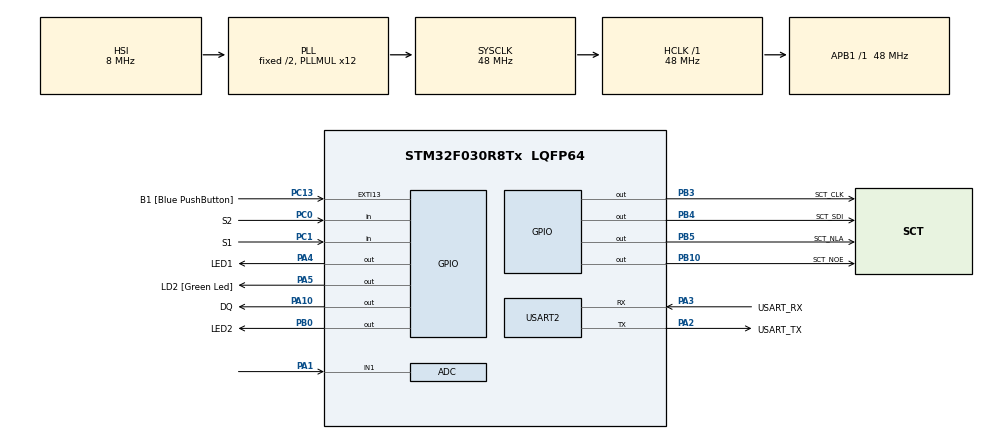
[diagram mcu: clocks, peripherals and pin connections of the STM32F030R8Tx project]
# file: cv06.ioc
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ADC.ContinuousConvMode=ENABLE
ADC.Overrun=ADC_OVR_DATA_OVERWRITTEN
ADC.Resolution=ADC_RESOLUTION_10B
Mcu.Family=STM32F0
Mcu.Name=STM32F030R8Tx
Mcu.Package=LQFP64
PA1.Mode=IN1
PA1.Signal=ADC_IN1
PA10.GPIO_Label=DQ
PA10.GPIO_ModeDefaultOutputPP=GPIO_MODE_OUTPUT_OD
PA10.Signal=GPIO_Output
PA13.GPIO_Label=TMS
PA13.Mode=Serial_Wire
PA13.Signal=SYS_SWDIO
PA14.GPIO_Label=TCK
PA14.Mode=Serial_Wire
PA14.Signal=SYS_SWCLK
PA2.GPIO_Label=USART_TX
PA2.GPIO_Mode=GPIO_MODE_AF_PP
PA2.GPIO_PuPd=GPIO_NOPULL
PA2.GPIO_Speed=GPIO_SPEED_FREQ_LOW
PA2.Mode=Asynchronous
PA2.Signal=USART2_TX
PA3.GPIO_Label=USART_RX
PA3.GPIO_Mode=GPIO_MODE_AF_PP
PA3.GPIO_PuPd=GPIO_NOPULL
PA3.GPIO_Speed=GPIO_SPEED_FREQ_LOW
PA3.Mode=Asynchronous
PA3.Signal=USART2_RX
PA4.GPIO_Label=LED1
PA4.Signal=GPIO_Output
PA5.GPIO_Label=LD2 [Green Led]
PA5.GPIO_Mode=GPIO_MODE_OUTPUT_PP
PA5.GPIO_PuPd=GPIO_NOPULL
PA5.GPIO_Speed=GPIO_SPEED_FREQ_LOW
PA5.Signal=GPIO_Output
PB0.GPIO_Label=LED2
PB0.Signal=GPIO_Output
PB10.GPIO_Label=SCT_NOE
PB10.Signal=GPIO_Output
PB3.GPIO_Label=SCT_CLK
PB3.Signal=GPIO_Output
PB4.GPIO_Label=SCT_SDI
PB4.Signal=GPIO_Output
PB5.GPIO_Label=SCT_NLA
PB5.Signal=GPIO_Output
PC0.GPIO_Label=S2
PC0.GPIO_PuPd=GPIO_PULLUP
PC0.Signal=GPIO_Input
PC1.GPIO_Label=S1
PC1.GPIO_PuPd=GPIO_PULLUP
PC1.Signal=GPIO_Input
PC13.GPIO_Label=B1 [Blue PushButton]
PC13.GPIO_ModeDefaultEXTI=GPIO_MODE_IT_FALLING
PC13.Signal=GPXTI13
PC14-OSC32_IN.Mode=LSE-External-Oscillator
PC14-OSC32_IN.Signal=RCC_OSC32_IN
PC15-OSC32_OUT.Mode=LSE-External-Oscillator
PC15-OSC32_OUT.Signal=RCC_OSC32_OUT
PF0-OSC_IN.Mode=HSE-External-Clock-Source
PF0-OSC_IN.Signal=RCC_OSC_IN
PF1-OSC_OUT.Signal=RCC_OSC_OUT
ProjectManager.HeapSize=0x200
ProjectManager.StackSize=0x400
ProjectManager.TargetToolchain=STM32CubeIDE
RCC.AHBFreq_Value=48000000
RCC.APB1Freq_Value=48000000
RCC.APB1TimFreq_Value=48000000
RCC.HCLKFreq_Value=48000000
RCC.PLLMUL=RCC_PLL_MUL12
RCC.SYSCLKFreq_VALUE=48000000
RCC.SYSCLKSource=RCC_SYSCLKSOURCE_PLLCLK
USART2.VirtualMode-Asynchronous=VM_ASYNC
board=NUCLEO-F030R8

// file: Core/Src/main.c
/* USER CODE BEGIN Header */
/**
  ******************************************************************************
  * @file           : main.c
  * @brief          : Main program body
  ******************************************************************************
  * @attention
  *
  * <h2><center>&copy; Copyright (c) 2021 STMicroelectronics.
  * All rights reserved.</center></h2>
  *
  * This software component is licensed by ST under BSD 3-Clause license,
  * the "License"; You may not use this file except in compliance with the
  * License. You may obtain a copy of the License at:
  *                        opensource.org/licenses/BSD-3-Clause
  *
  ******************************************************************************
  */
/* USER CODE END Header */
#include "main.h"

/* USER CODE BEGIN Includes */

#include "sct.h"
#include "1wire.h"
#define CONVERT_T_DELAY 750

/* USER CODE END Includes */

/* USER CODE BEGIN PD */
int16_t temp;
int16_t temp_18b20;
/* USER CODE END PD */

ADC_HandleTypeDef hadc;

UART_HandleTypeDef huart2;

/* USER CODE BEGIN PV */
int16_t temp_NTC[1024] = {1689,1670,1651,1633,1615,1597,1580,1563,1547,1531,
		1515,1499,1484,1469,1455,1440,1426,1413,1399,1386,1373,1360,1348,1335,
		1323,1312,1300,1289,1278,1267,1256,1246,1236,1226,1216,1206,1197,1188,
		1178,1170,1161,1152,1144,1136,1127,1119,1112,1104,1097,1089,1082,1075,
		1068,1061,1054,1048,1041,1035,1029,1022,1016,1010,1005,999,993,988,982,
		977,972,967,962,957,952,947,942,937,933,928,924,919,915,911,907,902,898,
		894,890,886,883,879,875,871,868,864,860,857,854,850,847,843,840,837,834,
		830,827,824,821,818,815,812,809,806,803,801,798,795,792,789,787,784,781,
		779,776,774,771,768,766,763,761,758,756,753,751,749,746,744,742,739,737,
		735,732,730,728,726,723,721,719,717,715,712,710,708,706,704,702,700,698,
		696,693,691,689,687,685,683,681,679,677,675,673,671,669,668,666,664,662,
		660,658,656,654,652,651,649,647,645,643,641,639,638,636,634,632,631,629,
		627,625,623,622,620,618,617,615,613,611,610,608,606,605,603,601,600,598,
		596,595,593,591,590,588,587,585,583,582,580,579,577,576,574,572,571,569,
		568,566,565,563,562,560,559,557,556,554,553,551,550,548,547,546,544,543,
		541,540,538,537,536,534,533,531,530,529,527,526,525,523,522,521,519,518,
		517,515,514,513,511,510,509,508,506,505,504,502,501,500,499,497,496,495,
		494,493,491,490,489,488,487,485,484,483,482,481,479,478,477,476,475,474,
		472,471,470,469,468,467,466,465,463,462,461,460,459,458,457,456,455,454,
		452,451,450,449,448,447,446,445,444,443,442,441,440,439,438,437,436,435,
		434,433,432,430,429,428,427,426,425,424,423,422,421,420,419,418,417,416,
		415,414,413,413,412,411,410,409,408,407,406,405,404,403,402,401,400,399,
		398,397,396,395,394,393,392,391,390,389,388,387,387,386,385,384,383,382,
		381,380,379,378,377,376,375,374,373,372,372,371,370,369,368,367,366,365,
		364,363,362,361,360,359,359,358,357,356,355,354,353,352,351,350,349,348,
		347,347,346,345,344,343,342,341,340,339,338,337,336,335,335,334,333,332,
		331,330,329,328,327,326,325,325,324,323,322,321,320,319,318,317,316,315,
		315,314,313,312,311,310,309,308,307,306,306,305,304,303,302,301,300,299,
		298,297,297,296,295,294,293,292,291,290,289,289,288,287,286,285,284,283,
		282,281,281,280,279,278,277,276,275,274,274,273,272,271,270,269,268,267,
		267,266,265,264,263,262,261,261,260,259,258,257,256,255,255,254,253,252,
		251,250,249,249,248,247,246,245,244,244,243,242,241,240,239,239,238,237,
		236,235,234,234,233,232,231,230,229,229,228,227,226,225,224,224,223,222,
		221,220,220,219,218,217,216,216,215,214,213,212,212,211,210,209,208,208,
		207,206,205,204,204,203,202,201,200,200,199,198,197,196,196,195,194,193,
		193,192,191,190,189,189,188,187,186,186,185,184,183,182,182,181,180,179,
		179,178,177,176,175,175,174,173,172,171,171,170,169,168,168,167,166,165,
		164,164,163,162,161,161,160,159,158,157,157,156,155,154,154,153,152,151,
		150,150,149,148,147,146,146,145,144,143,142,142,141,140,139,138,138,137,
		136,135,134,134,133,132,131,130,130,129,128,127,126,126,125,124,123,122,
		121,121,120,119,118,117,117,116,115,114,113,112,111,111,110,109,108,107,
		106,106,105,104,103,102,101,100,100,99,98,97,96,95,94,94,93,92,91,90,89,
		88,87,86,86,85,84,83,82,81,80,79,78,78,77,76,75,74,73,72,71,70,69,68,68,
		67,66,65,64,63,62,61,60,59,58,57,56,56,55,54,53,52,51,50,49,48,47,46,45,
		44,43,42,41,40,39,38,37,37,36,35,34,33,32,31,30,29,28,27,26,25,24,23,22,
		21,20,19,18,17,16,15,14,13,12,11,10,9,8,7,6,5,4,3,2,1,0,-1,-2,-3,-4,-5,
		-6,-7,-8,-9,-10,-11,-12,-13,-14,-15,-16,-17,-18,-19,-20,-21,-22,-23,-24,
		-26,-27,-28,-29,-30,-31,-32,-33,-34,-35,-36,-37,-38,-39,-40,-41,-42,-44,
		-45,-46,-47,-48,-49,-50,-51,-52,-53,-54,-56,-57,-58,-59,-60,-61,-62,-63,
		-65,-66,-67,-68,-69,-70,-71,-73,-74,-75,-76,-77,-79,-80,-81,-82,-83,-85,
		-86,-87,-88,-90,-91,-92,-93,-95,-96,-97,-98,-100,-101,-102,-104,-105,-106,
		-108,-109,-110,-112,-113,-114,-116,-117,-119,-120,-121,-123,-124,-126,-127,
		-129,-130,-132,-133,-135,-136,-138,-139,-141,-142,-144,-146,-147,-149,-150,
		-152,-154,-155,-157,-159,-161,-162,-164,-166,-167,-169,-171,-173,-175,-176,
		-178,-180,-182,-184,-186,-188,-190,-192,-194,-196,-197,-199,-202,-204,-206,
		-208,-210,-212,-214,-216,-218,-220,-223,-225,-227,-229,-231,-234,-236,-238,
		-240,-243,-245,-247,-250,-252,-255,-257,-259,-262,-264,-267,-269,-272,-274,
		-277,-279,-282,-284,-287,-290,-292,-295,-297};

/* USER CODE END PV */

void SystemClock_Config(void);
static void MX_GPIO_Init(void);
static void MX_USART2_UART_Init(void);
static void MX_ADC_Init(void);

int main(void)
{

  /* MCU Configuration--------------------------------------------------------*/

  /* Reset of all peripherals, Initializes the Flash interface and the Systick. */
  HAL_Init();

  /* Configure the system clock */
  SystemClock_Config();

  /* Initialize all configured peripherals */
  MX_GPIO_Init();
  MX_USART2_UART_Init();
  MX_ADC_Init();

  /* USER CODE BEGIN 2 */
  sct_init();
  OWInit();

  HAL_ADCEx_Calibration_Start(&hadc);
  HAL_ADC_Start(&hadc);

  /* USER CODE END 2 */

  /* Infinite loop */
  while (1)
  {

    /* USER CODE BEGIN 3 */

	  //temp = HAL_ADC_GetValue(&hadc);
	  //sct_value(temp_NTC[temp],0);

	  static uint32_t last_time;
	  uint32_t time;

	  	static enum {DS18B20, NTC} state = DS18B20;

	  	if(HAL_GPIO_ReadPin(S1_GPIO_Port, S1_Pin)==0)
	  	{
	  	  //last_time = HAL_GetTick();
	  	  state = DS18B20;
	  	  HAL_GPIO_WritePin(LED2_GPIO_Port, LED2_Pin, GPIO_PIN_SET);
	      HAL_GPIO_WritePin(LED1_GPIO_Port, LED1_Pin, GPIO_PIN_RESET);

	  	}

	  	if(HAL_GPIO_ReadPin(S2_GPIO_Port, S2_Pin)==0)
	  	{
	  	  //last_time = HAL_GetTick();
	  	  state = NTC;
	  	  HAL_GPIO_WritePin(LED1_GPIO_Port, LED1_Pin, GPIO_PIN_SET);
	      HAL_GPIO_WritePin(LED2_GPIO_Port, LED2_Pin, GPIO_PIN_RESET);
	  	}

	  	if (state==DS18B20)
	  	{

	  		//sct_value(temp_18b20/10, 0);
	  		time = HAL_GetTick();

	  		if (last_time+CONVERT_T_DELAY<time)
	  		{
	  			OWConvertAll();
	  			OWReadTemperature(&temp_18b20);
	  			sct_value(temp_18b20/10, 0);
	  			last_time = HAL_GetTick();
	  		}

	  	}

	  	else if (state==NTC)
	  	{
	  		//temp = HAL_ADC_GetValue(&hadc);
	  		//sct_value(temp_NTC[temp],0);
	  		time = HAL_GetTick();

	  		if (last_time+CONVERT_T_DELAY<time)
	  		{

	  			temp = HAL_ADC_GetValue(&hadc);
	  			sct_value(temp_NTC[temp],0);
	  			last_time = HAL_GetTick();

	  		}

	  	}

	    }

  /* USER CODE END 3 */
}

void SystemClock_Config(void)
{
  RCC_OscInitTypeDef RCC_OscInitStruct = {0};
  RCC_ClkInitTypeDef RCC_ClkInitStruct = {0};

  /** Initializes the RCC Oscillators according to the specified parameters
  * in the RCC_OscInitTypeDef structure.
  */
  RCC_OscInitStruct.OscillatorType = RCC_OSCILLATORTYPE_HSI|RCC_OSCILLATORTYPE_HSI14;
  RCC_OscInitStruct.HSIState = RCC_HSI_ON;
  RCC_OscInitStruct.HSI14State = RCC_HSI14_ON;
  RCC_OscInitStruct.HSICalibrationValue = RCC_HSICALIBRATION_DEFAULT;
  RCC_OscInitStruct.HSI14CalibrationValue = 16;
  RCC_OscInitStruct.PLL.PLLState = RCC_PLL_ON;
  RCC_OscInitStruct.PLL.PLLSource = RCC_PLLSOURCE_HSI;
  RCC_OscInitStruct.PLL.PLLMUL = RCC_PLL_MUL12;
  RCC_OscInitStruct.PLL.PREDIV = RCC_PREDIV_DIV1;
  if (HAL_RCC_OscConfig(&RCC_OscInitStruct) != HAL_OK)
  {
    Error_Handler();
  }
  /** Initializes the CPU, AHB and APB buses clocks
  */
  RCC_ClkInitStruct.ClockType = RCC_CLOCKTYPE_HCLK|RCC_CLOCKTYPE_SYSCLK
                              |RCC_CLOCKTYPE_PCLK1;
  RCC_ClkInitStruct.SYSCLKSource = RCC_SYSCLKSOURCE_PLLCLK;
  RCC_ClkInitStruct.AHBCLKDivider = RCC_SYSCLK_DIV1;
  RCC_ClkInitStruct.APB1CLKDivider = RCC_HCLK_DIV1;

  if (HAL_RCC_ClockConfig(&RCC_ClkInitStruct, FLASH_LATENCY_1) != HAL_OK)
  {
    Error_Handler();
  }
}

static void MX_ADC_Init(void)
{

  ADC_ChannelConfTypeDef sConfig = {0};

  /** Configure the global features of the ADC (Clock, Resolution, Data Alignment and number of conversion)
  */
  hadc.Instance = ADC1;
  hadc.Init.ClockPrescaler = ADC_CLOCK_ASYNC_DIV1;
  hadc.Init.Resolution = ADC_RESOLUTION_10B;
  hadc.Init.DataAlign = ADC_DATAALIGN_RIGHT;
  hadc.Init.ScanConvMode = ADC_SCAN_DIRECTION_FORWARD;
  hadc.Init.EOCSelection = ADC_EOC_SINGLE_CONV;
  hadc.Init.LowPowerAutoWait = DISABLE;
  hadc.Init.LowPowerAutoPowerOff = DISABLE;
  hadc.Init.ContinuousConvMode = ENABLE;
  hadc.Init.DiscontinuousConvMode = DISABLE;
  hadc.Init.ExternalTrigConv = ADC_SOFTWARE_START;
  hadc.Init.ExternalTrigConvEdge = ADC_EXTERNALTRIGCONVEDGE_NONE;
  hadc.Init.DMAContinuousRequests = DISABLE;
  hadc.Init.Overrun = ADC_OVR_DATA_OVERWRITTEN;
  if (HAL_ADC_Init(&hadc) != HAL_OK)
  {
    Error_Handler();
  }
  /** Configure for the selected ADC regular channel to be converted.
  */
  sConfig.Channel = ADC_CHANNEL_1;
  sConfig.Rank = ADC_RANK_CHANNEL_NUMBER;
  sConfig.SamplingTime = ADC_SAMPLETIME_1CYCLE_5;
  if (HAL_ADC_ConfigChannel(&hadc, &sConfig) != HAL_OK)
  {
    Error_Handler();
  }

}

static void MX_USART2_UART_Init(void)
{

  huart2.Instance = USART2;
  huart2.Init.BaudRate = 38400;
  huart2.Init.WordLength = UART_WORDLENGTH_8B;
  huart2.Init.StopBits = UART_STOPBITS_1;
  huart2.Init.Parity = UART_PARITY_NONE;
  huart2.Init.Mode = UART_MODE_TX_RX;
  huart2.Init.HwFlowCtl = UART_HWCONTROL_NONE;
  huart2.Init.OverSampling = UART_OVERSAMPLING_16;
  huart2.Init.OneBitSampling = UART_ONE_BIT_SAMPLE_DISABLE;
  huart2.AdvancedInit.AdvFeatureInit = UART_ADVFEATURE_NO_INIT;
  if (HAL_UART_Init(&huart2) != HAL_OK)
  {
    Error_Handler();
  }

}

static void MX_GPIO_Init(void)
{
  GPIO_InitTypeDef GPIO_InitStruct = {0};

  /* GPIO Ports Clock Enable */
  __HAL_RCC_GPIOC_CLK_ENABLE();
  __HAL_RCC_GPIOF_CLK_ENABLE();
  __HAL_RCC_GPIOA_CLK_ENABLE();
  __HAL_RCC_GPIOB_CLK_ENABLE();

  /*Configure GPIO pin Output Level */
  HAL_GPIO_WritePin(GPIOA, LED1_Pin|LD2_Pin|DQ_Pin, GPIO_PIN_RESET);

  /*Configure GPIO pin Output Level */
  HAL_GPIO_WritePin(GPIOB, LED2_Pin|SCT_NOE_Pin|SCT_CLK_Pin|SCT_SDI_Pin
                          |SCT_NLA_Pin, GPIO_PIN_RESET);

  /*Configure GPIO pin : B1_Pin */
  GPIO_InitStruct.Pin = B1_Pin;
  GPIO_InitStruct.Mode = GPIO_MODE_IT_FALLING;
  GPIO_InitStruct.Pull = GPIO_NOPULL;
  HAL_GPIO_Init(B1_GPIO_Port, &GPIO_InitStruct);

  /*Configure GPIO pins : S2_Pin S1_Pin */
  GPIO_InitStruct.Pin = S2_Pin|S1_Pin;
  GPIO_InitStruct.Mode = GPIO_MODE_INPUT;
  GPIO_InitStruct.Pull = GPIO_PULLUP;
  HAL_GPIO_Init(GPIOC, &GPIO_InitStruct);

  /*Configure GPIO pins : LED1_Pin LD2_Pin */
  GPIO_InitStruct.Pin = LED1_Pin|LD2_Pin;
  GPIO_InitStruct.Mode = GPIO_MODE_OUTPUT_PP;
  GPIO_InitStruct.Pull = GPIO_NOPULL;
  GPIO_InitStruct.Speed = GPIO_SPEED_FREQ_LOW;
  HAL_GPIO_Init(GPIOA, &GPIO_InitStruct);

  /*Configure GPIO pins : LED2_Pin SCT_NOE_Pin SCT_CLK_Pin SCT_SDI_Pin
                           SCT_NLA_Pin */
  GPIO_InitStruct.Pin = LED2_Pin|SCT_NOE_Pin|SCT_CLK_Pin|SCT_SDI_Pin
                          |SCT_NLA_Pin;
  GPIO_InitStruct.Mode = GPIO_MODE_OUTPUT_PP;
  GPIO_InitStruct.Pull = GPIO_NOPULL;
  GPIO_InitStruct.Speed = GPIO_SPEED_FREQ_LOW;
  HAL_GPIO_Init(GPIOB, &GPIO_InitStruct);

  /*Configure GPIO pin : DQ_Pin */
  GPIO_InitStruct.Pin = DQ_Pin;
  GPIO_InitStruct.Mode = GPIO_MODE_OUTPUT_OD;
  GPIO_InitStruct.Pull = GPIO_NOPULL;
  GPIO_InitStruct.Speed = GPIO_SPEED_FREQ_LOW;
  HAL_GPIO_Init(DQ_GPIO_Port, &GPIO_InitStruct);

}

void Error_Handler(void)
{
  __disable_irq();
  while (1)
  {
  }
}

/************************ (C) COPYRIGHT STMicroelectronics *****END OF FILE****/
